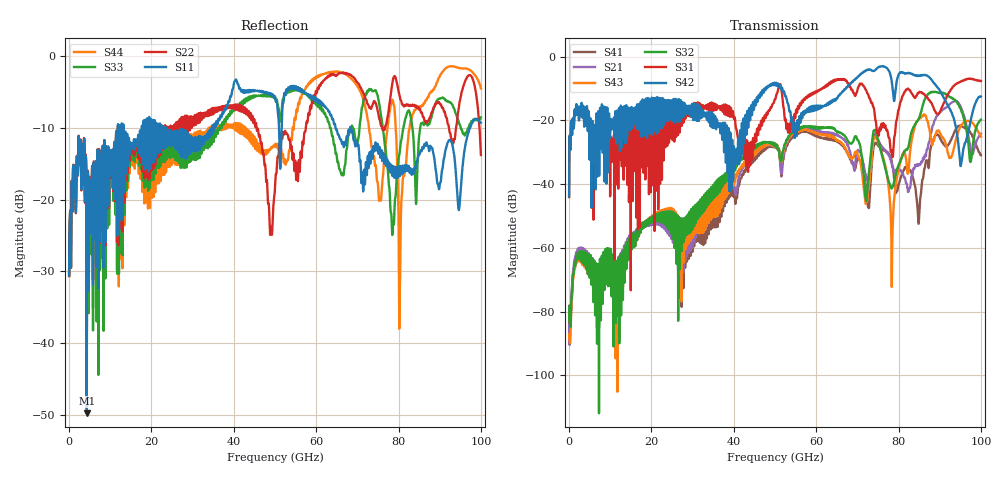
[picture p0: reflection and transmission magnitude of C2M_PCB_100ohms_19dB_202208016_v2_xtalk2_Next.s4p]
! Info: Touchstone file created by Circ.  Input file=Intel_C2M_200G_6p5in_202208016_staggered.circ
# Hz S RI R 50
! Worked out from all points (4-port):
!   10000 points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, 10 MHz to 100 GHz, reference 50 ohm
!   strongest paths, dB at 10 MHz, 25.01 GHz, 50.01 GHz, 75.01 GHz, 100 GHz:
!     S42: -43.9, -16.1, -8.7, -3.4, -12.5
!     S31: -44.1, -18.6, -13.3, -23.5, -7.7
!     S32: -82.8, -48.7, -27.3, -26.1, -19.8
!     S43: -87.1, -47.6, -27.4, -26.8, -25.1
!     S21: -84.1, -49.9, -27.4, -26.0, -24.2
!     S41: -86.3, -49.1, -27.8, -27.8, -31.0
!   lowest |S11| = -49.7 dB at 4.31 GHz (marker M1), VSWR 1.01, Z = 50 - j0.326 ohm
!   |S11| at or under -10 dB: start of sweep to 11.84 GHz; 23.42 GHz to 34.79 GHz (11.36 GHz wide, 39 % of centre); 68.38 GHz to 97.42 GHz (29.04 GHz wide, 35 % of centre)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
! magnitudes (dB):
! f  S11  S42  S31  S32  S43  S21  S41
! 10 MHz  -30.6  -43.9  -44.1  -82.8  -87.1  -84.1  -86.3
! 4.31 GHz  -49.7  -15.6  -16.9  -61.6  -64.1  -61.1  -63.1
! 56.37 GHz  -4.9  -17.9  -14.8  -22.2  -22.8  -22.3  -23.2
! 74.54 GHz  -12.6  -4.0  -20.7  -23.9  -25.5  -24.8  -27.2
! 78.4 GHz  -16.4  -8.3  -29.9  -41.3  -65.3  -34.1  -33.5
! 85.25 GHz  -13.4  -6.1  -11.1  -18.3  -19.2  -34.0  -44.8
! 100 GHz  -9.3  -12.5  -7.7  -19.8  -25.1  -24.2  -31.0
